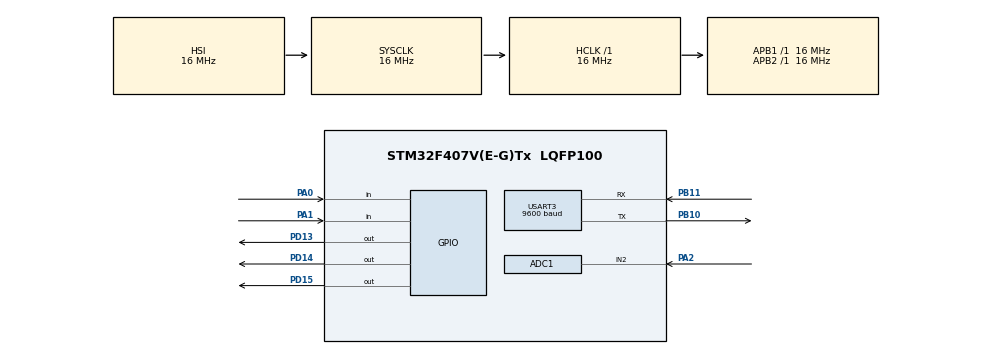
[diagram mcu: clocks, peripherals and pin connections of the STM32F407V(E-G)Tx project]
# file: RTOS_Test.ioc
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Mcu.Family=STM32F4
PH0-OSC_IN.Signal=RCC_OSC_IN
Dma.ADC1.0.Instance=DMA2_Stream0
RCC.CortexFreq_Value=16000000
FREERTOS.Tasks01=task1,0,128,start_task1,Default,NULL,Dynamic,NULL,NULL;task2,0,128,start_task2,Default,NULL,Dynamic,NULL,NULL
ADC1.Rank-0\#ChannelRegularConversion=1
PB10.Mode=Asynchronous
ADC1.ContinuousConvMode=ENABLE
SH.ADCx_IN2.0=ADC1_IN2,IN2
FREERTOS.configTICK_RATE_HZ=500
PB11.Signal=USART3_RX
ProjectManager.StackSize=0x400
PA0-WKUP.Signal=GPIO_Input
PD13.Signal=GPIO_Output
Dma.ADC1.0.PeriphDataAlignment=DMA_PDATAALIGN_WORD
USART3.BaudRate=9600
PB11.Mode=Asynchronous
ProjectManager.TargetToolchain=STM32CubeIDE
Dma.ADC1.0.Mode=DMA_CIRCULAR
Dma.ADC1.0.Priority=DMA_PRIORITY_LOW
Dma.ADC1.0.Direction=DMA_PERIPH_TO_MEMORY
NVIC.DMA2_Stream0_IRQn=true\:5\:0\:false\:false\:true\:true\:false\:true
RCC.LSE_VALUE=32768
PA1.GPIO_PuPd=GPIO_NOPULL
Dma.ADC1.0.MemDataAlignment=DMA_MDATAALIGN_WORD
PA1.Signal=GPIO_Input
RCC.AHBFreq_Value=16000000
PH0-OSC_IN.Mode=HSE-External-Oscillator
PB10.Signal=USART3_TX
FREERTOS.configUSE_PREEMPTION=0
ADC1.Channel-0\#ChannelRegularConversion=ADC_CHANNEL_2
RCC.HSE_VALUE=25000000
board=custom
RCC.VCOOutputFreq_Value=192000000
RCC.APB2Freq_Value=16000000
Dma.ADC1.0.PeriphInc=DMA_PINC_DISABLE
PH1-OSC_OUT.Signal=RCC_OSC_OUT
VP_FREERTOS_VS_CMSIS_V1.Mode=CMSIS_V1
Mcu.Name=STM32F407V(E-G)Tx
ADC1.SamplingTime-0\#ChannelRegularConversion=ADC_SAMPLETIME_3CYCLES
PA2.Signal=ADCx_IN2
PD14.Signal=GPIO_Output
PH1-OSC_OUT.Mode=HSE-External-Oscillator
RCC.SYSCLKFreq_VALUE=16000000
Mcu.Package=LQFP100
ADC1.master=1
USART3.VirtualMode=VM_ASYNC
Dma.ADC1.0.MemInc=DMA_MINC_ENABLE
ProjectManager.HeapSize=0x200
RCC.HSI_VALUE=16000000
NVIC.PriorityGroup=NVIC_PRIORITYGROUP_4
ADC1.NbrOfConversionFlag=1
Dma.ADC1.0.FIFOMode=DMA_FIFOMODE_DISABLE
Dma.Request0=ADC1
RCC.APB1Freq_Value=16000000
PD15.Signal=GPIO_Output

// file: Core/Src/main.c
/* USER CODE BEGIN Header */
/**
  ******************************************************************************
  * @file           : main.c
  * @brief          : Main program body
  ******************************************************************************
  * @attention
  *
  * <h2><center>&copy; Copyright (c) 2021 STMicroelectronics.
  * All rights reserved.</center></h2>
  *
  * This software component is licensed by ST under BSD 3-Clause license,
  * the "License"; You may not use this file except in compliance with the
  * License. You may obtain a copy of the License at:
  *                        opensource.org/licenses/BSD-3-Clause
  *
  ******************************************************************************
  */
/* USER CODE END Header */
#include "main.h"
#include "cmsis_os.h"

ADC_HandleTypeDef hadc1;
DMA_HandleTypeDef hdma_adc1;

UART_HandleTypeDef huart3;

osThreadId task1Handle;
osThreadId task2Handle;

void SystemClock_Config(void);
static void MX_GPIO_Init(void);
static void MX_DMA_Init(void);
static void MX_USART3_UART_Init(void);
static void MX_ADC1_Init(void);
void start_task1(void const * argument);
void start_task2(void const * argument);

/* USER CODE BEGIN PFP */
void ctrlZ(uint8_t data5[])
{
	    uint8_t data=0x1A;

	    HAL_UART_Transmit(&huart3, &data,1, 1000);

}
uint32_t adc_value;
float volt;
/* USER CODE END PFP */

int main(void)
{

  /* MCU Configuration--------------------------------------------------------*/

  /* Reset of all peripherals, Initializes the Flash interface and the Systick. */
  HAL_Init();

  /* Configure the system clock */
  SystemClock_Config();

  /* Initialize all configured peripherals */
  MX_GPIO_Init();
  MX_DMA_Init();
  MX_USART3_UART_Init();
  MX_ADC1_Init();
  /* USER CODE BEGIN 2 */
 // HAL_ADC_Start_DMA(&hadc1, &adc_value,1);
  //HAL_ADC_Start(&hadc1);
 // HAL_ADC_PollForConversion(&hadc1, 1000);

  HAL_UART_Transmit(&huart3, "AT\r\n",strlen("AT\r\n"), 1000);
  HAL_Delay(2000);
    HAL_UART_Transmit(&huart3, "ATE0\r\n",strlen("ATE0\r\n"), 1000);
    HAL_Delay(2000);
    HAL_UART_Transmit(&huart3, "AT+IPR=9600\r\n",strlen("AT+IPR=9600\r\n"), 1000);
    HAL_Delay(2000);
    HAL_UART_Transmit(&huart3, "AT+CMGF=1\r\n",strlen("AT+CMGF=1\r\n"), 1000);
    HAL_Delay(2000);
    HAL_UART_Transmit(&huart3, "AT+CLIP=1\r\n",strlen("AT+CLIP=1\r\n"), 1000);
    HAL_Delay(2000);
    HAL_UART_Transmit(&huart3, "AT+CNMI=2,2\r\n",strlen("AT+CNMI=2,2\r\n"), 1000);
    HAL_Delay(2000);
//    uint8_t data1[]="AT+CMGS=\"" ;
//   	uint8_t data2[]="0964475617";
//    uint8_t data3[]="\"";
//    uint8_t data4[]="\r\n";
//    HAL_UART_Transmit(&huart3, data1,strlen(data1), 1000);
//    HAL_UART_Transmit(&huart3, data2,strlen(data2), 1000);
//    HAL_UART_Transmit(&huart3, data3,strlen(data3), 1000);
//    HAL_UART_Transmit(&huart3, data4,strlen(data4), 1000);

  /* USER CODE END 2 */

  /* Create the thread(s) */
  /* definition and creation of task1 */
  osThreadDef(task1, start_task1, osPriorityNormal, 0, 128);
  task1Handle = osThreadCreate(osThread(task1), NULL);

  /* definition and creation of task2 */
  osThreadDef(task2, start_task2, osPriorityNormal, 0, 128);
  task2Handle = osThreadCreate(osThread(task2), NULL);

  /* Start scheduler */
  osKernelStart();

  /* We should never get here as control is now taken by the scheduler */
  /* Infinite loop */
  while (1)
  {

  }
}

void SystemClock_Config(void)
{
  RCC_OscInitTypeDef RCC_OscInitStruct = {0};
  RCC_ClkInitTypeDef RCC_ClkInitStruct = {0};

  /** Configure the main internal regulator output voltage
  */
  __HAL_RCC_PWR_CLK_ENABLE();
  __HAL_PWR_VOLTAGESCALING_CONFIG(PWR_REGULATOR_VOLTAGE_SCALE1);
  /** Initializes the RCC Oscillators according to the specified parameters
  * in the RCC_OscInitTypeDef structure.
  */
  RCC_OscInitStruct.OscillatorType = RCC_OSCILLATORTYPE_HSI;
  RCC_OscInitStruct.HSIState = RCC_HSI_ON;
  RCC_OscInitStruct.HSICalibrationValue = RCC_HSICALIBRATION_DEFAULT;
  RCC_OscInitStruct.PLL.PLLState = RCC_PLL_NONE;
  if (HAL_RCC_OscConfig(&RCC_OscInitStruct) != HAL_OK)
  {
    Error_Handler();
  }
  /** Initializes the CPU, AHB and APB buses clocks
  */
  RCC_ClkInitStruct.ClockType = RCC_CLOCKTYPE_HCLK|RCC_CLOCKTYPE_SYSCLK
                              |RCC_CLOCKTYPE_PCLK1|RCC_CLOCKTYPE_PCLK2;
  RCC_ClkInitStruct.SYSCLKSource = RCC_SYSCLKSOURCE_HSI;
  RCC_ClkInitStruct.AHBCLKDivider = RCC_SYSCLK_DIV1;
  RCC_ClkInitStruct.APB1CLKDivider = RCC_HCLK_DIV1;
  RCC_ClkInitStruct.APB2CLKDivider = RCC_HCLK_DIV1;

  if (HAL_RCC_ClockConfig(&RCC_ClkInitStruct, FLASH_LATENCY_0) != HAL_OK)
  {
    Error_Handler();
  }
}

static void MX_ADC1_Init(void)
{

  ADC_ChannelConfTypeDef sConfig = {0};

  /** Configure the global features of the ADC (Clock, Resolution, Data Alignment and number of conversion)
  */
  hadc1.Instance = ADC1;
  hadc1.Init.ClockPrescaler = ADC_CLOCK_SYNC_PCLK_DIV2;
  hadc1.Init.Resolution = ADC_RESOLUTION_12B;
  hadc1.Init.ScanConvMode = DISABLE;
  hadc1.Init.ContinuousConvMode = ENABLE;
  hadc1.Init.DiscontinuousConvMode = DISABLE;
  hadc1.Init.ExternalTrigConvEdge = ADC_EXTERNALTRIGCONVEDGE_NONE;
  hadc1.Init.ExternalTrigConv = ADC_SOFTWARE_START;
  hadc1.Init.DataAlign = ADC_DATAALIGN_RIGHT;
  hadc1.Init.NbrOfConversion = 1;
  hadc1.Init.DMAContinuousRequests = DISABLE;
  hadc1.Init.EOCSelection = ADC_EOC_SINGLE_CONV;
  if (HAL_ADC_Init(&hadc1) != HAL_OK)
  {
    Error_Handler();
  }
  /** Configure for the selected ADC regular channel its corresponding rank in the sequencer and its sample time.
  */
  sConfig.Channel = ADC_CHANNEL_2;
  sConfig.Rank = 1;
  sConfig.SamplingTime = ADC_SAMPLETIME_3CYCLES;
  if (HAL_ADC_ConfigChannel(&hadc1, &sConfig) != HAL_OK)
  {
    Error_Handler();
  }

}

static void MX_USART3_UART_Init(void)
{

  huart3.Instance = USART3;
  huart3.Init.BaudRate = 9600;
  huart3.Init.WordLength = UART_WORDLENGTH_8B;
  huart3.Init.StopBits = UART_STOPBITS_1;
  huart3.Init.Parity = UART_PARITY_NONE;
  huart3.Init.Mode = UART_MODE_TX_RX;
  huart3.Init.HwFlowCtl = UART_HWCONTROL_NONE;
  huart3.Init.OverSampling = UART_OVERSAMPLING_16;
  if (HAL_UART_Init(&huart3) != HAL_OK)
  {
    Error_Handler();
  }

}

static void MX_DMA_Init(void)
{

  /* DMA controller clock enable */
  __HAL_RCC_DMA2_CLK_ENABLE();

  /* DMA interrupt init */
  /* DMA2_Stream0_IRQn interrupt configuration */
  HAL_NVIC_SetPriority(DMA2_Stream0_IRQn, 5, 0);
  HAL_NVIC_EnableIRQ(DMA2_Stream0_IRQn);

}

static void MX_GPIO_Init(void)
{
  GPIO_InitTypeDef GPIO_InitStruct = {0};

  /* GPIO Ports Clock Enable */
  __HAL_RCC_GPIOH_CLK_ENABLE();
  __HAL_RCC_GPIOA_CLK_ENABLE();
  __HAL_RCC_GPIOB_CLK_ENABLE();
  __HAL_RCC_GPIOD_CLK_ENABLE();

  /*Configure GPIO pin Output Level */
  HAL_GPIO_WritePin(GPIOD, GPIO_PIN_13|GPIO_PIN_14|GPIO_PIN_15, GPIO_PIN_RESET);

  /*Configure GPIO pins : PA0 PA1 */
  GPIO_InitStruct.Pin = GPIO_PIN_0|GPIO_PIN_1;
  GPIO_InitStruct.Mode = GPIO_MODE_INPUT;
  GPIO_InitStruct.Pull = GPIO_NOPULL;
  HAL_GPIO_Init(GPIOA, &GPIO_InitStruct);

  /*Configure GPIO pins : PD13 PD14 PD15 */
  GPIO_InitStruct.Pin = GPIO_PIN_13|GPIO_PIN_14|GPIO_PIN_15;
  GPIO_InitStruct.Mode = GPIO_MODE_OUTPUT_PP;
  GPIO_InitStruct.Pull = GPIO_NOPULL;
  GPIO_InitStruct.Speed = GPIO_SPEED_FREQ_LOW;
  HAL_GPIO_Init(GPIOD, &GPIO_InitStruct);

}

void start_task1(void const * argument)
{
  /* USER CODE BEGIN 5 */

	static uint8_t data6=0x1A;
  /* Infinite loop */
  for(;;)
  {

	if(HAL_GPIO_ReadPin(GPIOA,GPIO_PIN_1)==1)
			{	vTaskSuspend(task2Handle);
			 uint8_t data1[]="AT+CMGS=\"" ;
			   	uint8_t data2[]="0964475617";
			    uint8_t data3[]="\"";
			    uint8_t data4[]="\r\n";
			    HAL_UART_Transmit(&huart3, data1,strlen(data1), 1000);
			    HAL_UART_Transmit(&huart3, data2,strlen(data2), 1000);
			    HAL_UART_Transmit(&huart3, data3,strlen(data3), 1000);
			    HAL_UART_Transmit(&huart3, data4,strlen(data4), 1000);
			    HAL_Delay(500);
				static char data9[]="canh bao co trom";
				//gui_tin_nhan(data);
				HAL_UART_Transmit(&huart3, data9,strlen(data9), 100);
				HAL_UART_Transmit(&huart3, &data6,1, 100);
				HAL_GPIO_WritePin(GPIOD, GPIO_PIN_15,GPIO_PIN_SET);
				vTaskDelay(2500);
				vTaskResume(task2Handle);
				HAL_Delay(2500);
			//	vTaskDelay(2500);
				taskYIELD();

			}
	else
	{	HAL_GPIO_WritePin(GPIOD, GPIO_PIN_15,GPIO_PIN_RESET);
		taskYIELD();

	}
  }
}

  /* USER CODE END 5 */

void start_task2(void const * argument)
{
  /* USER CODE BEGIN start_task2 */
	static char data6=0x1A;
	//HAL_ADC_PollForConversion(&hadc1, 1000);
  /* Infinite loop */
  for(;;)
  {HAL_ADC_Start_DMA(&hadc1, &adc_value, 1);
//	  HAL_ADC_PollForConversion(&hadc1, 1000);
//	  adc_value= HAL_ADC_GetValue(&hadc1);
	  volt=adc_value*3.3/4096;
  if(volt>2.2)
  {
	  vTaskSuspend(task1Handle);
	  uint8_t data1[]="AT+CMGS=\"" ;
	    	uint8_t data2[]="0964475617";
	     uint8_t data3[]="\"";
	     uint8_t data4[]="\r\n";
	     HAL_UART_Transmit(&huart3, data1,strlen(data1), 1000);
	     HAL_UART_Transmit(&huart3, data2,strlen(data2), 1000);
	     HAL_UART_Transmit(&huart3, data3,strlen(data3), 1000);
	     HAL_UART_Transmit(&huart3, data4,strlen(data4), 1000);
	     HAL_Delay(500);
	static char data[]="canh bao chay";
	//gui_tin_nhan(data);
	HAL_UART_Transmit(&huart3, data,strlen(data), 100);
	HAL_UART_Transmit(&huart3, &data6,1, 100);

	HAL_GPIO_WritePin(GPIOD, GPIO_PIN_14,GPIO_PIN_SET);
	HAL_GPIO_WritePin(GPIOD, GPIO_PIN_13,GPIO_PIN_SET);

//	vTaskResume(task1Handle);

	vTaskDelay(2500);
	vTaskResume(task1Handle);
	HAL_Delay(2500);
//	if(volt>2.2)
//	{	HAL_GPIO_WritePin(GPIOD, GPIO_PIN_14,GPIO_PIN_RESET);
//		HAL_GPIO_WritePin(GPIOD, GPIO_PIN_13,GPIO_PIN_RESET);
//		HAL_Delay(5000);
//	 }
	taskYIELD();
  }
  else
  {
	  HAL_GPIO_WritePin(GPIOD, GPIO_PIN_14,GPIO_PIN_RESET);
	  HAL_GPIO_WritePin(GPIOD, GPIO_PIN_13,GPIO_PIN_RESET);
	  taskYIELD();
  }

  }
}

  /* USER CODE END start_task2 */

void Error_Handler(void)
{
  __disable_irq();
  while (1)
  {
  }
}

/************************ (C) COPYRIGHT STMicroelectronics *****END OF FILE****/
